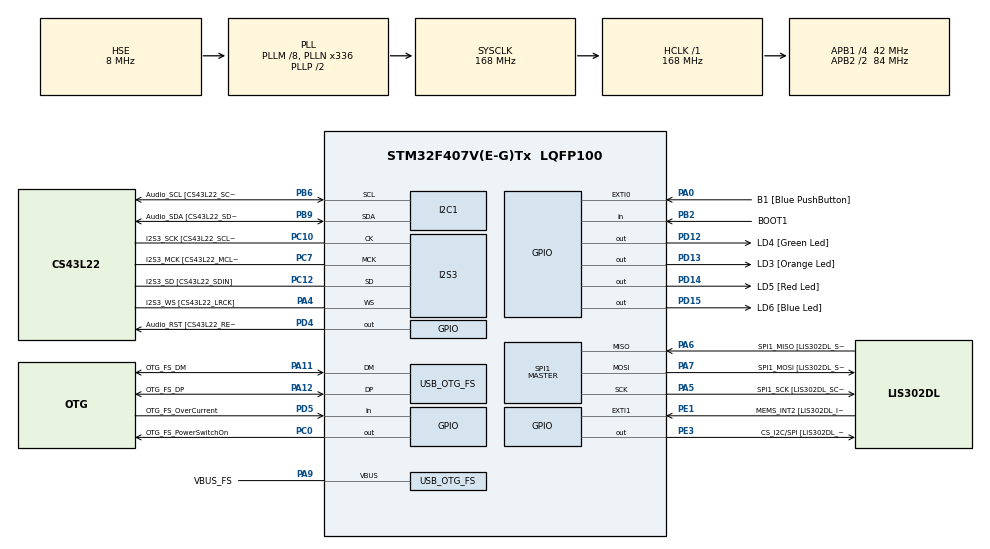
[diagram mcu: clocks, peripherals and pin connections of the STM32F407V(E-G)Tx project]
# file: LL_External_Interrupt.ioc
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I2S3.AudioFreq-Half_Duplex_Master=I2S_AUDIOFREQ_96K
I2S3.ErrorAudioFreq=-2.34 %
I2S3.ErrorAudioFreq-Half_Duplex_Master=0.8 %
I2S3.FullDuplexMode=I2S_FULLDUPLEXMODE_DISABLE
I2S3.Instance=SPI$Index
I2S3.RealAudioFreq=93.75 KHz
I2S3.RealAudioFreq-Half_Duplex_Master=96.774 KHz
I2S3.VirtualMode=I2S_MODE_MASTER
Mcu.Family=STM32F4
Mcu.Name=STM32F407V(E-G)Tx
Mcu.Package=LQFP100
NVIC.OTG_FS_IRQn=true\:0\:0\:false\:false\:true\:true\:true
NVIC.PriorityGroup=NVIC_PRIORITYGROUP_0
PA0-WKUP.GPIO_Label=B1 [Blue PushButton]
PA0-WKUP.GPIO_ModeDefaultEXTI=GPIO_MODE_EVT_RISING
PA0-WKUP.GPIO_PuPd=GPIO_NOPULL
PA0-WKUP.Signal=GPXTI0
PA10.GPIO_Label=OTG_FS_ID
PA10.GPIO_Mode=GPIO_MODE_AF_PP
PA10.GPIO_PuPd=GPIO_NOPULL
PA10.GPIO_Speed=GPIO_SPEED_FREQ_LOW
PA10.Signal=USB_OTG_FS_ID
PA11.GPIO_Label=OTG_FS_DM
PA11.GPIO_Mode=GPIO_MODE_AF_PP
PA11.GPIO_PuPd=GPIO_NOPULL
PA11.GPIO_Speed=GPIO_SPEED_FREQ_LOW
PA11.Mode=Host_Only
PA11.Signal=USB_OTG_FS_DM
PA12.GPIO_Label=OTG_FS_DP
PA12.GPIO_Mode=GPIO_MODE_AF_PP
PA12.GPIO_PuPd=GPIO_NOPULL
PA12.GPIO_Speed=GPIO_SPEED_FREQ_LOW
PA12.Mode=Host_Only
PA12.Signal=USB_OTG_FS_DP
PA13.GPIO_Label=SWDIO
PA13.Mode=Serial_Wire
PA13.Signal=SYS_JTMS-SWDIO
PA14.GPIO_Label=SWCLK
PA14.Mode=Serial_Wire
PA14.Signal=SYS_JTCK-SWCLK
PA4.GPIO_Label=I2S3_WS [CS43L22_LRCK]
PA4.GPIO_Mode=GPIO_MODE_AF_PP
PA4.GPIO_PuPd=GPIO_NOPULL
PA4.GPIO_Speed=GPIO_SPEED_FREQ_LOW
PA4.Mode=Half_Duplex_Master
PA4.Signal=I2S3_WS
PA5.GPIO_Label=SPI1_SCK [LIS302DL_SCL/SPC]
PA5.GPIO_Mode=GPIO_MODE_AF_PP
PA5.GPIO_PuPd=GPIO_NOPULL
PA5.GPIO_Speed=GPIO_SPEED_FREQ_LOW
PA5.Mode=Full_Duplex_Master
PA5.Signal=SPI1_SCK
PA6.GPIO_Label=SPI1_MISO [LIS302DL_SDO]
PA6.GPIO_Mode=GPIO_MODE_AF_PP
PA6.GPIO_PuPd=GPIO_NOPULL
PA6.GPIO_Speed=GPIO_SPEED_FREQ_LOW
PA6.Mode=Full_Duplex_Master
PA6.Signal=SPI1_MISO
PA7.GPIO_Label=SPI1_MOSI [LIS302DL_SDA/SDI/SDO]
PA7.GPIO_Mode=GPIO_MODE_AF_PP
PA7.GPIO_PuPd=GPIO_NOPULL
PA7.GPIO_Speed=GPIO_SPEED_FREQ_LOW
PA7.Mode=Full_Duplex_Master
PA7.Signal=SPI1_MOSI
PA9.GPIO_Label=VBUS_FS
PA9.GPIO_Mode=GPIO_MODE_INPUT
PA9.GPIO_PuPd=GPIO_NOPULL
PA9.Mode=Activate_VBUS
PA9.Signal=USB_OTG_FS_VBUS
PB10.GPIO_Label=CLK_IN [MP45DT02_CLK]
PB10.GPIO_Mode=GPIO_MODE_AF_PP
PB10.GPIO_PuPd=GPIO_NOPULL
PB10.GPIO_Speed=GPIO_SPEED_FREQ_LOW
PB10.Signal=I2S2_CK
PB2.GPIO_Label=BOOT1
PB2.GPIO_Mode=GPIO_MODE_INPUT
PB2.GPIO_PuPd=GPIO_NOPULL
PB2.Signal=GPIO_Input
PB3.GPIO_Label=SWO
PB3.Signal=SYS_JTDO-SWO
PB6.GPIO_Label=Audio_SCL [CS43L22_SCL]
PB6.GPIO_Mode=GPIO_MODE_AF_OD
PB6.GPIO_Pu=GPIO_PULLUP
PB6.GPIO_PuPd=GPIO_NOPULL
PB6.GPIO_Speed=GPIO_SPEED_FREQ_LOW
PB6.Mode=I2C
PB6.Signal=I2C1_SCL
PB9.GPIO_Label=Audio_SDA [CS43L22_SDA]
PB9.GPIO_Mode=GPIO_MODE_AF_OD
PB9.GPIO_Pu=GPIO_PULLUP
PB9.GPIO_PuPd=GPIO_NOPULL
PB9.GPIO_Speed=GPIO_SPEED_FREQ_LOW
PB9.Mode=I2C
PB9.Signal=I2C1_SDA
PC0.GPIO_Label=OTG_FS_PowerSwitchOn
PC0.GPIO_PuPd=GPIO_NOPULL
PC0.GPIO_Speed=GPIO_SPEED_FREQ_LOW
PC0.PinState=GPIO_PIN_SET
PC0.Signal=GPIO_Output
PC10.GPIO_Label=I2S3_SCK [CS43L22_SCLK]
PC10.GPIO_Mode=GPIO_MODE_AF_PP
PC10.GPIO_PuPd=GPIO_NOPULL
PC10.GPIO_Speed=GPIO_SPEED_FREQ_LOW
PC10.Mode=Half_Duplex_Master
PC10.Signal=I2S3_CK
PC12.GPIO_Label=I2S3_SD [CS43L22_SDIN]
PC12.GPIO_Mode=GPIO_MODE_AF_PP
PC12.GPIO_PuPd=GPIO_NOPULL
PC12.GPIO_Speed=GPIO_SPEED_FREQ_LOW
PC12.Mode=Half_Duplex_Master
PC12.Signal=I2S3_SD
PC14-OSC32_IN.GPIO_Label=PC14-OSC32_IN
PC14-OSC32_IN.Mode=LSE-External-Oscillator
PC14-OSC32_IN.Signal=RCC_OSC32_IN
PC15-OSC32_OUT.GPIO_Label=PC15-OSC32_OUT
PC15-OSC32_OUT.Mode=LSE-External-Oscillator
PC15-OSC32_OUT.Signal=RCC_OSC32_OUT
PC3.GPIO_Label=PDM_OUT [MP45DT02_DOUT]
PC3.GPIO_Mode=GPIO_MODE_AF_PP
PC3.GPIO_PuPd=GPIO_NOPULL
PC3.GPIO_Speed=GPIO_SPEED_FREQ_LOW
PC3.Signal=I2S2_SD
PC7.GPIO_Label=I2S3_MCK [CS43L22_MCLK]
PC7.GPIO_Mode=GPIO_MODE_AF_PP
PC7.GPIO_PuPd=GPIO_NOPULL
PC7.GPIO_Speed=GPIO_SPEED_FREQ_LOW
PC7.Mode=Master_Clock_Activated
PC7.Signal=I2S3_MCK
PD12.GPIO_Label=LD4 [Green Led]
PD12.GPIO_PuPd=GPIO_NOPULL
PD12.GPIO_Speed=GPIO_SPEED_FREQ_LOW
PD12.Signal=GPIO_Output
PD13.GPIO_Label=LD3 [Orange Led]
PD13.GPIO_PuPd=GPIO_NOPULL
PD13.GPIO_Speed=GPIO_SPEED_FREQ_LOW
PD13.Signal=GPIO_Output
PD14.GPIO_Label=LD5 [Red Led]
PD14.GPIO_PuPd=GPIO_NOPULL
PD14.GPIO_Speed=GPIO_SPEED_FREQ_LOW
PD14.Signal=GPIO_Output
PD15.GPIO_Label=LD6 [Blue Led]
PD15.GPIO_PuPd=GPIO_NOPULL
PD15.GPIO_Speed=GPIO_SPEED_FREQ_LOW
PD15.Signal=GPIO_Output
PD4.GPIO_Label=Audio_RST [CS43L22_RESET]
PD4.GPIO_PuPd=GPIO_NOPULL
PD4.GPIO_Speed=GPIO_SPEED_FREQ_LOW
PD4.Signal=GPIO_Output
PD5.GPIO_Label=OTG_FS_OverCurrent
PD5.GPIO_Mode=GPIO_MODE_INPUT
PD5.GPIO_PuPd=GPIO_NOPULL
PD5.Signal=GPIO_Input
PE1.GPIO_Label=MEMS_INT2 [LIS302DL_INT2]
PE1.GPIO_ModeDefaultEXTI=GPIO_MODE_EVT_RISING
PE1.GPIO_PuPd=GPIO_NOPULL
PE1.Signal=GPXTI1
PE3.GPIO_Label=CS_I2C/SPI [LIS302DL_CS_I2C/SPI]
PE3.GPIO_PuPd=GPIO_NOPULL
PE3.GPIO_Speed=GPIO_SPEED_FREQ_LOW
PE3.Signal=GPIO_Output
PH0-OSC_IN.GPIO_Label=PH0-OSC_IN
PH0-OSC_IN.Mode=HSE-External-Oscillator
PH0-OSC_IN.Signal=RCC_OSC_IN
PH1-OSC_OUT.GPIO_Label=PH1-OSC_OUT
PH1-OSC_OUT.Mode=HSE-External-Oscillator
PH1-OSC_OUT.Signal=RCC_OSC_OUT
ProjectManager.HeapSize=0x200
ProjectManager.StackSize=0x400
ProjectManager.TargetToolchain=STM32CubeIDE
RCC.48MHZClocksFreq_Value=48000000
RCC.AHBFreq_Value=168000000
RCC.APB1CLKDivider=RCC_HCLK_DIV4
RCC.APB1Freq_Value=42000000
RCC.APB1TimFreq_Value=84000000
RCC.APB2CLKDivider=RCC_HCLK_DIV2
RCC.APB2Freq_Value=84000000
RCC.APB2TimFreq_Value=168000000
RCC.CortexFreq_Value=168000000
RCC.HCLKFreq_Value=168000000
RCC.HSE_VALUE=8000000
RCC.HSI_VALUE=16000000
RCC.PLLM=8
RCC.PLLN=336
RCC.PLLQ=7
RCC.SYSCLKFreq_VALUE=168000000
RCC.SYSCLKSource=RCC_SYSCLKSOURCE_PLLCLK
RCC.VCOOutputFreq_Value=336000000
SPI1.BaudRatePrescaler-Full_Duplex_Master=SPI_BAUDRATEPRESCALER_2
SPI1.CalculateBaudRate-Full_Duplex_Master=42.0 MBits/s
SPI1.Direction=SPI_DIRECTION_2LINES
SPI1.Mode=SPI_MODE_MASTER
SPI1.Mode-Full_Duplex_Master=SPI_MODE_MASTER
SPI1.VirtualType=VM_MASTER
USB_HOST.BSP.number=1
USB_HOST.USBH_HandleTypeDef-CDC_FS=hUsbHostFS
USB_HOST.VirtualModeFS=Cdc
USB_HOST0.BSP.STBoard=false
USB_HOST0.BSP.api=Unknown
USB_HOST0.BSP.i2caddr=0
USB_HOST0.BSP.i2creg=0
USB_HOST0.BSP.instance=PC0
USB_HOST0.BSP.ip=GPIO
USB_HOST0.BSP.mode=Output
USB_HOST0.BSP.name=Drive_VBUS_FS
USB_HOST0.BSP.solution=PC0
USB_OTG_FS.VirtualMode=Host_Only
USB_OTG_FS.phy_itface=HCD_PHY_EMBEDDED
VP_USB_HOST_VS_USB_HOST_CDC_FS.Mode=CDC_FS
board=STM32F407G-DISC1

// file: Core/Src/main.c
/* USER CODE BEGIN Header */
/**
 ******************************************************************************
 * @file           : main.c
 * @brief          : Main program body
 ******************************************************************************
 * @attention
 *
 * Copyright (c) 2021 STMicroelectronics.
 * All rights reserved.
 *
 * This software is licensed under terms that can be found in the LICENSE file
 * in the root directory of this software component.
 * If no LICENSE file comes with this software, it is provided AS-IS.
 *
 ******************************************************************************
 */
/* USER CODE END Header */
#include "main.h"
#include "usb_host.h"

I2C_HandleTypeDef hi2c1;

I2S_HandleTypeDef hi2s3;

SPI_HandleTypeDef hspi1;

void SystemClock_Config(void);
static void MX_GPIO_Init(void);
static void MX_I2C1_Init(void);
static void MX_I2S3_Init(void);
static void MX_SPI1_Init(void);
void MX_USB_HOST_Process(void);

/* USER CODE BEGIN 0 */
void gpio_config(void) {
	RCC->AHB1ENR = 0x00000009; //ENABLE PORTA(USER BUTTON'S PORT) AND PORTD(LEDS' PORT) CLOCKS

	//OUTPUT CONFIGURATIONS
	GPIOD->MODER = 0x55000000; //SET PD12,PD13,PD14 AS OUTPUT
	GPIOD->OTYPER = 0x00000000; //OUTPUT TYPE IS PUSH PULL
	GPIOD->OSPEEDR = 0x00000000; //OUTPUT SPEED IS LOW SPEED
	GPIOD->PUPDR = 0x00000000; //No pull-up, pull-down

	//INPUT CONFIGURATIONS
	GPIOB->IDR = 0x00000001; //SET PA0 AS INPUT

}

void EXTI_Config(void) {
	//WE WILL USE PA0 THEREFORE WE HAVE TO ENABLE PA0
	RCC->APB2ENR = 0x00004000; //ENABLE SYSCFG FOR USING EXTI0
	SYSCFG->EXTICR[0] = SYSCFG_EXTICR1_EXTI0_PA; //0x00000000; // SYSCFG PA0 PORT
	NVIC_EnableIRQ(EXTI0_IRQn); //ENABLE NVIC FOR EXTI0

	NVIC_SetPriority(EXTI0_IRQn, 0); //FIRST PRIORITY FOR EXT0

	EXTI->IMR = 0x00000001; //remove line 0 mask
	EXTI->FTSR = EXTI_FTSR_TR0; //falling edge interrupt

}

void EXTI0_IRQHandler(void) {
	if ((EXTI->PR & EXTI_PR_PR0) == EXTI_PR_PR0) { //LINE 0 INTERRUPT CONTROL
		EXTI->PR |= EXTI_PR_PR0; //IF YOU SET TO ONE AGAIN YOU CAN CLEAR RELATED PR BIT THIS SPECIAL FEAUTURE BELONG TO PR BIT
		GPIOD->ODR &= ~(1 << 12); //turn off PD12 LED
		GPIOD->ODR &= ~(1 << 13); //turn off PD13 LED
		GPIOD->ODR &= ~(1 << 14); //turn off PD14 LED
		GPIOD->ODR &= ~(1 << 15); //turn off PD15 LED
		HAL_Delay(500);

	}

}

/* USER CODE END 0 */

int main(void) {

	/* MCU Configuration--------------------------------------------------------*/

	/* Reset of all peripherals, Initializes the Flash interface and the Systick. */
	HAL_Init();

	/* Configure the system clock */
	SystemClock_Config();

	/* Initialize all configured peripherals */
	MX_GPIO_Init();
	MX_I2C1_Init();
	MX_I2S3_Init();
	MX_SPI1_Init();
	MX_USB_HOST_Init();
	/* USER CODE BEGIN 2 */
	gpio_config();
	EXTI_Config();
	/* USER CODE END 2 */

	/* Infinite loop */
	while (1) {
		MX_USB_HOST_Process();

		/* USER CODE BEGIN 3 */

		GPIOD->ODR |= 1 << 12; //turn on PD12 LED
		GPIOD->ODR |= 1 << 13; //turn on PD13 LED
		GPIOD->ODR |= 1 << 14; //turn on PD14 LED
		GPIOD->ODR |= 1 << 15; //turn on PD15 LED
		HAL_Delay(500);

	}
	/* USER CODE END 3 */
}

void SystemClock_Config(void) {
	RCC_OscInitTypeDef RCC_OscInitStruct = { 0 };
	RCC_ClkInitTypeDef RCC_ClkInitStruct = { 0 };

	/** Configure the main internal regulator output voltage
	 */
	__HAL_RCC_PWR_CLK_ENABLE();
	__HAL_PWR_VOLTAGESCALING_CONFIG(PWR_REGULATOR_VOLTAGE_SCALE1);
	/** Initializes the RCC Oscillators according to the specified parameters
	 * in the RCC_OscInitTypeDef structure.
	 */
	RCC_OscInitStruct.OscillatorType = RCC_OSCILLATORTYPE_HSE;
	RCC_OscInitStruct.HSEState = RCC_HSE_ON;
	RCC_OscInitStruct.PLL.PLLState = RCC_PLL_ON;
	RCC_OscInitStruct.PLL.PLLSource = RCC_PLLSOURCE_HSE;
	RCC_OscInitStruct.PLL.PLLM = 8;
	RCC_OscInitStruct.PLL.PLLN = 336;
	RCC_OscInitStruct.PLL.PLLP = RCC_PLLP_DIV2;
	RCC_OscInitStruct.PLL.PLLQ = 7;
	if (HAL_RCC_OscConfig(&RCC_OscInitStruct) != HAL_OK) {
		Error_Handler();
	}
	/** Initializes the CPU, AHB and APB buses clocks
	 */
	RCC_ClkInitStruct.ClockType = RCC_CLOCKTYPE_HCLK | RCC_CLOCKTYPE_SYSCLK
			| RCC_CLOCKTYPE_PCLK1 | RCC_CLOCKTYPE_PCLK2;
	RCC_ClkInitStruct.SYSCLKSource = RCC_SYSCLKSOURCE_PLLCLK;
	RCC_ClkInitStruct.AHBCLKDivider = RCC_SYSCLK_DIV1;
	RCC_ClkInitStruct.APB1CLKDivider = RCC_HCLK_DIV4;
	RCC_ClkInitStruct.APB2CLKDivider = RCC_HCLK_DIV2;

	if (HAL_RCC_ClockConfig(&RCC_ClkInitStruct, FLASH_LATENCY_5) != HAL_OK) {
		Error_Handler();
	}
}

static void MX_I2C1_Init(void) {

	hi2c1.Instance = I2C1;
	hi2c1.Init.ClockSpeed = 100000;
	hi2c1.Init.DutyCycle = I2C_DUTYCYCLE_2;
	hi2c1.Init.OwnAddress1 = 0;
	hi2c1.Init.AddressingMode = I2C_ADDRESSINGMODE_7BIT;
	hi2c1.Init.DualAddressMode = I2C_DUALADDRESS_DISABLE;
	hi2c1.Init.OwnAddress2 = 0;
	hi2c1.Init.GeneralCallMode = I2C_GENERALCALL_DISABLE;
	hi2c1.Init.NoStretchMode = I2C_NOSTRETCH_DISABLE;
	if (HAL_I2C_Init(&hi2c1) != HAL_OK) {
		Error_Handler();
	}

}

static void MX_I2S3_Init(void) {

	hi2s3.Instance = SPI3;
	hi2s3.Init.Mode = I2S_MODE_MASTER_TX;
	hi2s3.Init.Standard = I2S_STANDARD_PHILIPS;
	hi2s3.Init.DataFormat = I2S_DATAFORMAT_16B;
	hi2s3.Init.MCLKOutput = I2S_MCLKOUTPUT_ENABLE;
	hi2s3.Init.AudioFreq = I2S_AUDIOFREQ_96K;
	hi2s3.Init.CPOL = I2S_CPOL_LOW;
	hi2s3.Init.ClockSource = I2S_CLOCK_PLL;
	hi2s3.Init.FullDuplexMode = I2S_FULLDUPLEXMODE_DISABLE;
	if (HAL_I2S_Init(&hi2s3) != HAL_OK) {
		Error_Handler();
	}

}

static void MX_SPI1_Init(void) {

	/* SPI1 parameter configuration*/
	hspi1.Instance = SPI1;
	hspi1.Init.Mode = SPI_MODE_MASTER;
	hspi1.Init.Direction = SPI_DIRECTION_2LINES;
	hspi1.Init.DataSize = SPI_DATASIZE_8BIT;
	hspi1.Init.CLKPolarity = SPI_POLARITY_LOW;
	hspi1.Init.CLKPhase = SPI_PHASE_1EDGE;
	hspi1.Init.NSS = SPI_NSS_SOFT;
	hspi1.Init.BaudRatePrescaler = SPI_BAUDRATEPRESCALER_2;
	hspi1.Init.FirstBit = SPI_FIRSTBIT_MSB;
	hspi1.Init.TIMode = SPI_TIMODE_DISABLE;
	hspi1.Init.CRCCalculation = SPI_CRCCALCULATION_DISABLE;
	hspi1.Init.CRCPolynomial = 10;
	if (HAL_SPI_Init(&hspi1) != HAL_OK) {
		Error_Handler();
	}

}

static void MX_GPIO_Init(void) {
	GPIO_InitTypeDef GPIO_InitStruct = { 0 };

	/* GPIO Ports Clock Enable */
	__HAL_RCC_GPIOE_CLK_ENABLE();
	__HAL_RCC_GPIOC_CLK_ENABLE();
	__HAL_RCC_GPIOH_CLK_ENABLE();
	__HAL_RCC_GPIOA_CLK_ENABLE();
	__HAL_RCC_GPIOB_CLK_ENABLE();
	__HAL_RCC_GPIOD_CLK_ENABLE();

	/*Configure GPIO pin Output Level */
	HAL_GPIO_WritePin(CS_I2C_SPI_GPIO_Port, CS_I2C_SPI_Pin, GPIO_PIN_RESET);

	/*Configure GPIO pin Output Level */
	HAL_GPIO_WritePin(OTG_FS_PowerSwitchOn_GPIO_Port, OTG_FS_PowerSwitchOn_Pin,
			GPIO_PIN_SET);

	/*Configure GPIO pin Output Level */
	HAL_GPIO_WritePin(GPIOD,
	LD4_Pin | LD3_Pin | LD5_Pin | LD6_Pin | Audio_RST_Pin, GPIO_PIN_RESET);

	/*Configure GPIO pin : CS_I2C_SPI_Pin */
	GPIO_InitStruct.Pin = CS_I2C_SPI_Pin;
	GPIO_InitStruct.Mode = GPIO_MODE_OUTPUT_PP;
	GPIO_InitStruct.Pull = GPIO_NOPULL;
	GPIO_InitStruct.Speed = GPIO_SPEED_FREQ_LOW;
	HAL_GPIO_Init(CS_I2C_SPI_GPIO_Port, &GPIO_InitStruct);

	/*Configure GPIO pin : OTG_FS_PowerSwitchOn_Pin */
	GPIO_InitStruct.Pin = OTG_FS_PowerSwitchOn_Pin;
	GPIO_InitStruct.Mode = GPIO_MODE_OUTPUT_PP;
	GPIO_InitStruct.Pull = GPIO_NOPULL;
	GPIO_InitStruct.Speed = GPIO_SPEED_FREQ_LOW;
	HAL_GPIO_Init(OTG_FS_PowerSwitchOn_GPIO_Port, &GPIO_InitStruct);

	/*Configure GPIO pin : PDM_OUT_Pin */
	GPIO_InitStruct.Pin = PDM_OUT_Pin;
	GPIO_InitStruct.Mode = GPIO_MODE_AF_PP;
	GPIO_InitStruct.Pull = GPIO_NOPULL;
	GPIO_InitStruct.Speed = GPIO_SPEED_FREQ_LOW;
	GPIO_InitStruct.Alternate = GPIO_AF5_SPI2;
	HAL_GPIO_Init(PDM_OUT_GPIO_Port, &GPIO_InitStruct);

	/*Configure GPIO pin : B1_Pin */
	GPIO_InitStruct.Pin = B1_Pin;
	GPIO_InitStruct.Mode = GPIO_MODE_EVT_RISING;
	GPIO_InitStruct.Pull = GPIO_NOPULL;
	HAL_GPIO_Init(B1_GPIO_Port, &GPIO_InitStruct);

	/*Configure GPIO pin : BOOT1_Pin */
	GPIO_InitStruct.Pin = BOOT1_Pin;
	GPIO_InitStruct.Mode = GPIO_MODE_INPUT;
	GPIO_InitStruct.Pull = GPIO_NOPULL;
	HAL_GPIO_Init(BOOT1_GPIO_Port, &GPIO_InitStruct);

	/*Configure GPIO pin : CLK_IN_Pin */
	GPIO_InitStruct.Pin = CLK_IN_Pin;
	GPIO_InitStruct.Mode = GPIO_MODE_AF_PP;
	GPIO_InitStruct.Pull = GPIO_NOPULL;
	GPIO_InitStruct.Speed = GPIO_SPEED_FREQ_LOW;
	GPIO_InitStruct.Alternate = GPIO_AF5_SPI2;
	HAL_GPIO_Init(CLK_IN_GPIO_Port, &GPIO_InitStruct);

	/*Configure GPIO pins : LD4_Pin LD3_Pin LD5_Pin LD6_Pin
	 Audio_RST_Pin */
	GPIO_InitStruct.Pin = LD4_Pin | LD3_Pin | LD5_Pin | LD6_Pin | Audio_RST_Pin;
	GPIO_InitStruct.Mode = GPIO_MODE_OUTPUT_PP;
	GPIO_InitStruct.Pull = GPIO_NOPULL;
	GPIO_InitStruct.Speed = GPIO_SPEED_FREQ_LOW;
	HAL_GPIO_Init(GPIOD, &GPIO_InitStruct);

	/*Configure GPIO pin : OTG_FS_OverCurrent_Pin */
	GPIO_InitStruct.Pin = OTG_FS_OverCurrent_Pin;
	GPIO_InitStruct.Mode = GPIO_MODE_INPUT;
	GPIO_InitStruct.Pull = GPIO_NOPULL;
	HAL_GPIO_Init(OTG_FS_OverCurrent_GPIO_Port, &GPIO_InitStruct);

	/*Configure GPIO pin : MEMS_INT2_Pin */
	GPIO_InitStruct.Pin = MEMS_INT2_Pin;
	GPIO_InitStruct.Mode = GPIO_MODE_EVT_RISING;
	GPIO_InitStruct.Pull = GPIO_NOPULL;
	HAL_GPIO_Init(MEMS_INT2_GPIO_Port, &GPIO_InitStruct);

}

void Error_Handler(void) {
	__disable_irq();
	while (1) {
	}
}
